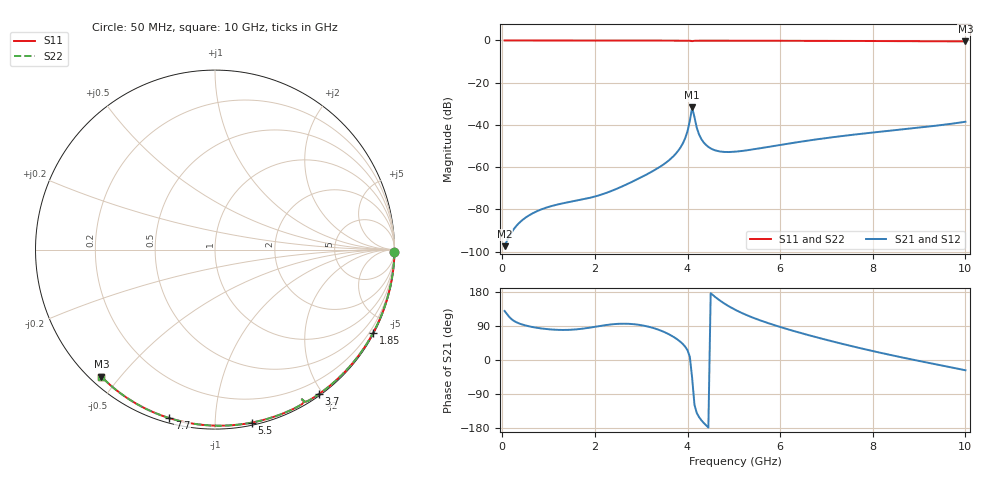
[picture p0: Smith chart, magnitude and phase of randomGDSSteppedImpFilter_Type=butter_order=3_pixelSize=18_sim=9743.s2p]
! freq	dB(S11)	phase(S11)	dB(S12)	phase(S12)
!  dB(S21)	phase(S21)	dB(S22)	phase(S22)
!S-par simulation data
#  GHz  S  DB  R 50
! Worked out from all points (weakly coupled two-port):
!   200 points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, 50 MHz to 10 GHz, reference 50 ohm
!   highest |S21| = -31.74 dB at 4.1 GHz (marker M1); lowest = -97.5 dB at 50 MHz (marker M2)
!   lowest |S11| = -0.4 dB at 10 GHz (marker M3), VSWR 38.62, Z = 1.55 - j22.3 ohm
!   |S11| at or under -10 dB: nowhere
!   |S22| runs from -0.4 to 0.0 dB; largest |S21 - S12| = 0
!   S11 on the Smith chart (normalised r, x): 50 MHz: open; 1.85 GHz: 0.04, -4.06; 3.7 GHz: 0.02, -1.95; 5.5 GHz: 0.02, -1.23; 7.7 GHz: 0.02, -0.77; 10 GHz: 0.03, -0.45
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0.05  -0.00 -0.8  -97.47 129.3  -97.47 129.3  -0.00 -0.8
0.85  -0.01 -12.9  -79.98 83.1  -79.98 83.1  -0.01 -12.9
1.75  -0.03 -26.2  -75.26 82.9  -75.26 82.9  -0.03 -26.2
1.85  -0.04 -27.7  -74.78 84.6  -74.78 84.6  -0.04 -27.7
2.5  -0.05 -37.1  -70.03 95.5  -70.03 95.5  -0.05 -37.1
3.4  -0.07 -50.0  -59.93 78.7  -59.93 78.7  -0.07 -50.0
3.7  -0.07 -54.2  -54.77 60.8  -54.77 60.8  -0.07 -54.2
3.85  -0.08 -56.3  -50.63 47.6  -50.63 47.6  -0.08 -56.3
3.95  -0.09 -57.8  -46.28 35.1  -46.28 35.1  -0.09 -57.8
4  -0.10 -58.6  -42.99 25.6  -42.99 25.6  -0.10 -58.6
4.05  -0.13 -59.6  -38.07 8.2  -38.07 8.2  -0.13 -59.6
4.1  -0.32 -59.9  -31.74 -47.9  -31.74 -47.9  -0.32 -59.9
4.2  -0.11 -60.4  -41.43 -139.9  -41.43 -139.9  -0.11 -60.4
4.25  -0.10 -61.3  -44.60 -151.0  -44.60 -151.0  -0.10 -61.3
4.4  -0.09 -63.4  -49.51 -172.4  -49.51 -172.4  -0.09 -63.4
4.7  -0.10 -67.5  -52.61 156.9  -52.61 156.9  -0.10 -67.5
5.05  -0.11 -72.2  -52.65 131.3  -52.65 131.3  -0.11 -72.2
5.5  -0.13 -78.0  -51.31 107.7  -51.31 107.7  -0.13 -78.0
6.7  -0.18 -93.1  -47.14 62.7  -47.14 62.7  -0.18 -93.1
7.7  -0.24 -105.1  -44.35 32.0  -44.35 32.0  -0.24 -105.1
8.35  -0.29 -112.8  -42.81 14.1  -42.81 14.1  -0.29 -112.8
10  -0.45 -131.8  -38.52 -27.1  -38.52 -27.1  -0.45 -131.8
